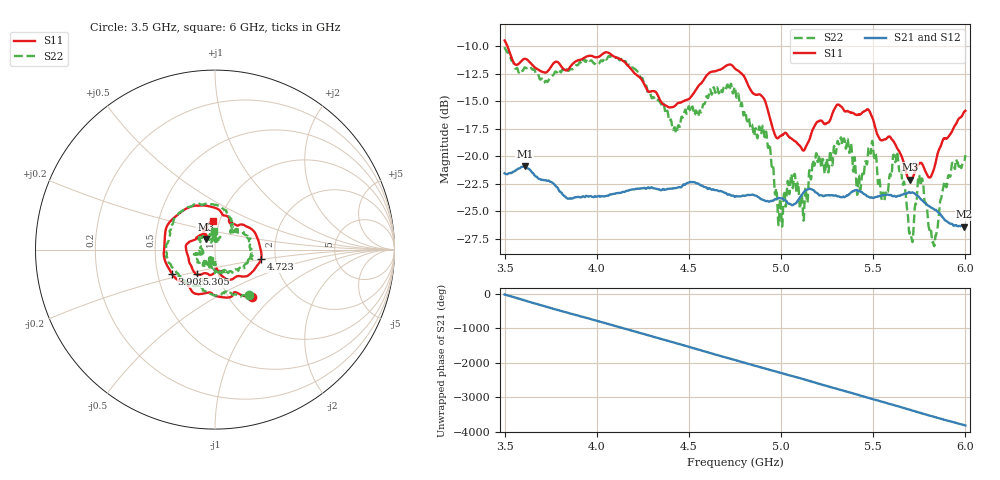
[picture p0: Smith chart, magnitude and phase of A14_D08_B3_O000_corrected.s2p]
! Created with skrf 1.9.0 (http://scikit-rf.org).
# Hz S RI R 50.0
!freq ReS11 ImS11 ReS21 ImS21 ReS12 ImS12 ReS22 ImS22
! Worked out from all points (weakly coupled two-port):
!   1601 points, 3.5 GHz to 6 GHz, reference 50 ohm
!   highest |S21| = -20.91 dB at 3.609 GHz (marker M1); lowest = -26.4 dB at 5.994 GHz (marker M2)
!   lowest |S11| = -22.1 dB at 5.698 GHz (marker M3), VSWR 1.17, Z = 44.8 + j5.32 ohm
!   |S11| at or under -10 dB: 3.516 GHz to end of sweep
!   |S22| runs from -28.2 to -10.1 dB; largest |S21 - S12| = 0.0012
!   S11 on the Smith chart (normalised r, x): 3.5 GHz: 1.27, -0.76; 3.908 GHz: 0.60, -0.17; 4.723 GHz: 1.68, -0.18; 5.305 GHz: 0.79, -0.22; 6 GHz: 0.93, +0.31
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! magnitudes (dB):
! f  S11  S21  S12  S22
! 3.5 GHz  -9.5  -21.5  -21.5  -10.1
! 3.609 GHz  -11.1  -20.9  -20.9  -11.9
! 3.908 GHz  -11.2  -23.7  -23.7  -11.4
! 3.917 GHz  -11.2  -23.7  -23.7  -11.6
! 4.334 GHz  -14.6  -23.0  -23.0  -14.9
! 4.425 GHz  -15.4  -22.9  -22.9  -17.5
! 4.723 GHz  -11.6  -23.5  -23.5  -13.7
! 4.75 GHz  -12.0  -23.7  -23.6  -13.7
! 4.911 GHz  -14.9  -24.0  -24.0  -18.3
! 4.995 GHz  -18.2  -23.8  -23.8  -23.9
! 5.167 GHz  -17.7  -23.0  -23.0  -21.3
! 5.305 GHz  -15.3  -23.6  -23.6  -18.8
! 5.42 GHz  -16.2  -23.2  -23.2  -21.7
! 5.487 GHz  -16.2  -23.8  -23.7  -19.6
! 5.584 GHz  -18.2  -23.5  -23.5  -22.4
! 5.638 GHz  -19.5  -23.6  -23.6  -20.9
! 5.698 GHz  -22.1  -23.3  -23.3  -26.9
! 5.756 GHz  -20.6  -23.9  -23.8  -22.7
! 5.831 GHz  -21.1  -24.8  -24.8  -28.2
! 5.88 GHz  -18.5  -25.6  -25.6  -22.8
! 5.994 GHz  -16.0  -26.4  -26.3  -20.4
! 6 GHz  -15.8  -26.4  -26.3  -19.9
